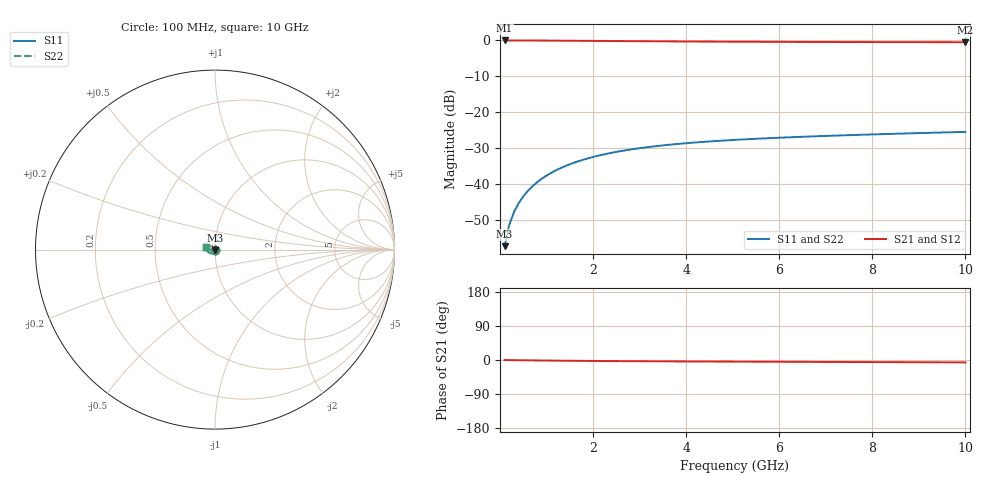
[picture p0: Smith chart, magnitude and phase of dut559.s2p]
! Touchstone file exported from HFSS 2024.1.0
!  File:  C:/UserFiles/LocalFiles/RDL_TSV_Batchsim/temp_TSV1_559_1779707101.aedt
!  Generated:  07:12:00 PM May 25, 2026
!  Design:  TSV1
!  Project:  temp_TSV1_559_1779707101
!  Setup:  Setup1
!  Solution:  Sweep
! Variables:
!  dtsv = 9.42um
!  hbump = 3um
!  htsv = 99.69um
!  lrdl = 252.1521522um
!  p = 40
!  p1 = 55.06um
!  t = 500um
!  trdl = 3um
!  wrdl = 24.89489489um
# GHz S MA R 50.000000
! Terminal data exported
! Port[1] = TSV22_T1
! Port[2] = TSV22_T2
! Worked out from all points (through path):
!   100 points, 100 MHz to 10 GHz, reference 50 ohm
!   highest |S21| = 0.00 dB at 100 MHz (marker M1); lowest = -0.5 dB at 10 GHz (marker M2)
!   lowest |S11| = -57.4 dB at 100 MHz (marker M3), VSWR 1.00, Z = 50 - j0.135 ohm
!   |S11| at or under -10 dB: start of sweep to end of sweep
!   |S22| runs from -57.4 to -25.5 dB; largest |S21 - S12| = 5.4e-15
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0.1  0.001356 -84.0  0.9998 -0.1  0.9998 -0.1  0.001356 -84.0
! Gamma 0 0 0 0
! Port Impedance 50 0 50 0
0.2  0.002692 -89.8  0.9996 -0.3  0.9996 -0.3  0.002692 -89.8
0.3  0.004031 -93.0  0.9994 -0.4  0.9994 -0.4  0.004031 -93.0
0.4  0.005366 -95.6  0.999 -0.6  0.999 -0.6  0.005366 -95.6
0.5  0.006691 -98.0  0.9986 -0.7  0.9986 -0.7  0.006691 -98.0
0.6  0.008002 -100.2  0.9981 -0.9  0.9981 -0.9  0.008002 -100.2
0.7  0.009296 -102.3  0.9975 -1.0  0.9975 -1.0  0.009296 -102.3
0.8  0.01057 -104.4  0.9969 -1.2  0.9969 -1.2  0.01057 -104.4
0.9  0.01182 -106.4  0.9962 -1.3  0.9962 -1.3  0.01182 -106.4
1.1  0.01425 -110.3  0.9946 -1.5  0.9946 -1.5  0.01425 -110.3
1.4  0.01769 -115.9  0.9918 -1.9  0.9918 -1.9  0.01769 -115.9
1.6  0.01983 -119.4  0.9898 -2.1  0.9898 -2.1  0.01983 -119.4
1.8  0.02184 -122.8  0.9877 -2.3  0.9877 -2.3  0.02184 -122.8
2.1  0.02463 -127.7  0.9846 -2.6  0.9846 -2.6  0.02463 -127.7
2.5  0.02794 -133.7  0.9803 -2.9  0.9803 -2.9  0.02794 -133.7
2.9  0.03081 -139.2  0.9763 -3.2  0.9763 -3.2  0.03081 -139.2
3.4  0.03388 -145.5  0.9717 -3.5  0.9717 -3.5  0.03388 -145.5
4.2  0.03782 -154.2  0.9654 -3.9  0.9654 -3.9  0.03782 -154.2
5.1  0.04128 -162.7  0.9598 -4.3  0.9598 -4.3  0.04128 -162.7
6.7  0.04592 -174.9  0.9528 -5.0  0.9528 -5.0  0.04592 -174.9
8.4  0.04984 174.6  0.9479 -5.7  0.9479 -5.7  0.04984 174.6
10  0.05314 166.3  0.9448 -6.4  0.9448 -6.4  0.05314 166.3
